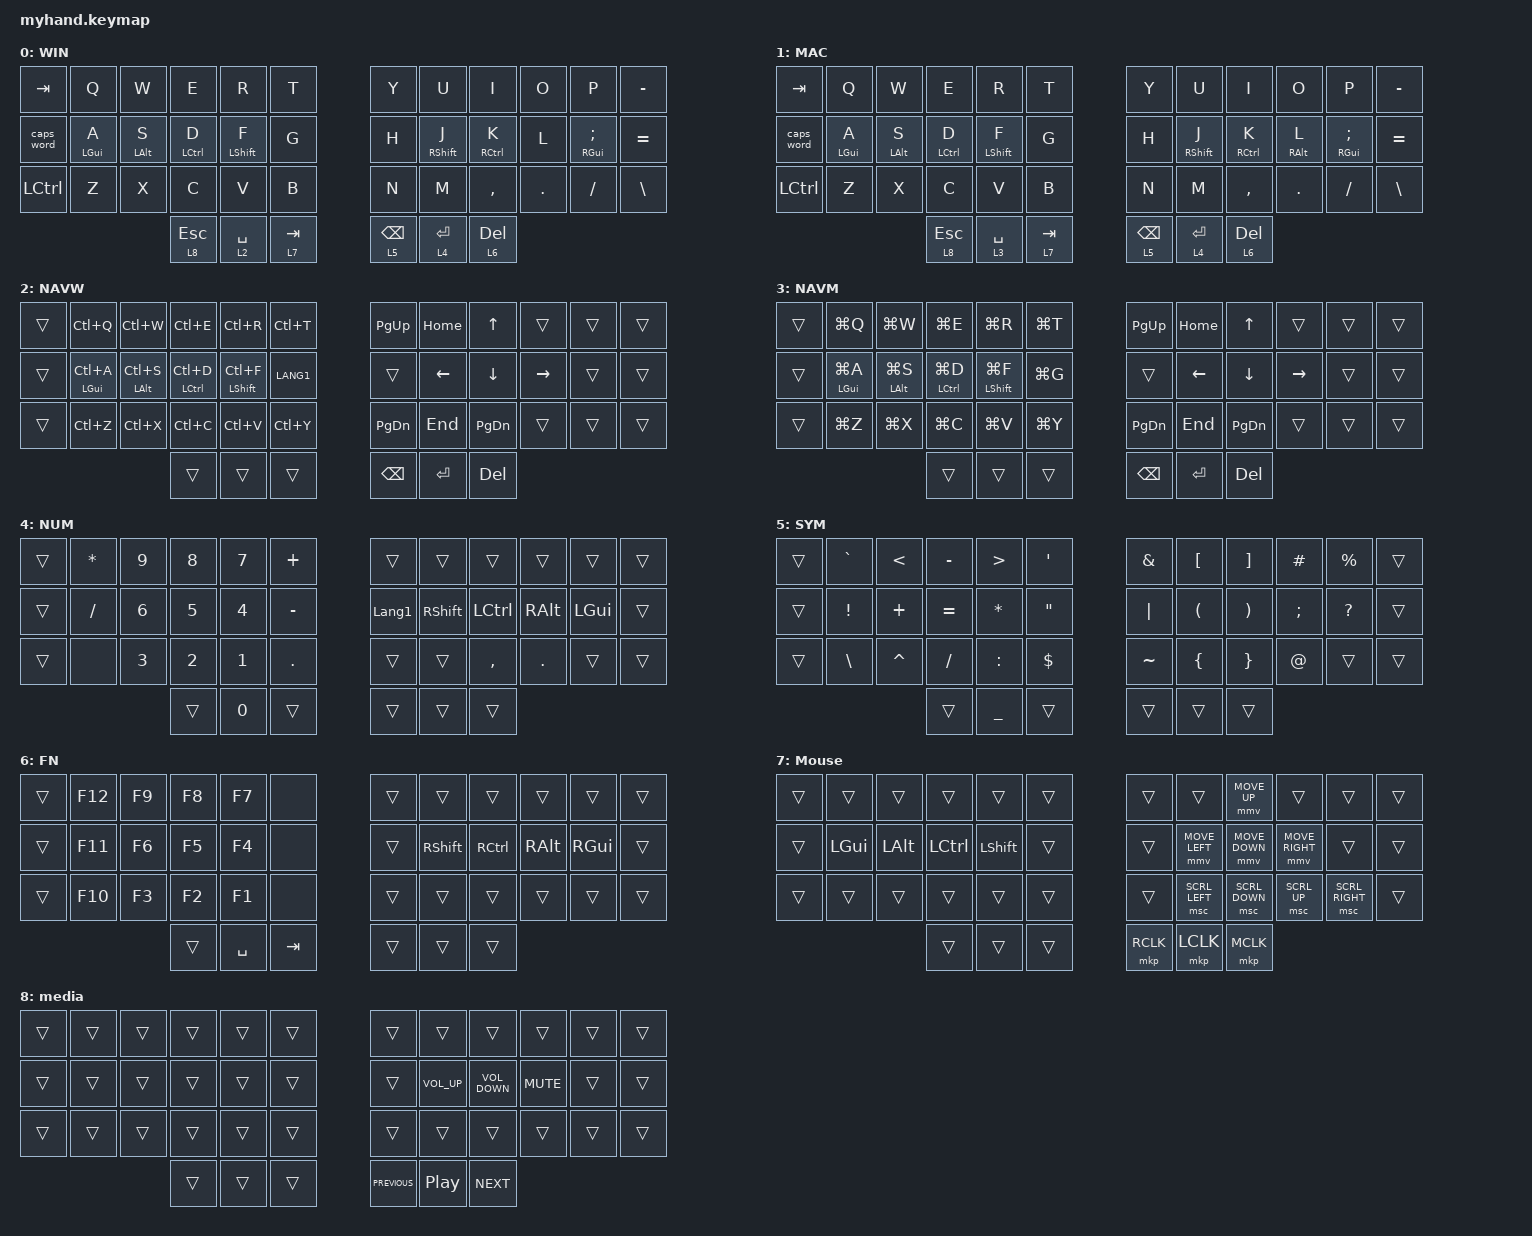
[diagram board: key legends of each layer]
/*
 * Copyright (c) 2020 The ZMK Contributors
 *
 * SPDX-License-Identifier: MIT
 */

#include <behaviors/mouse_keys.dtsi>
#include <behaviors.dtsi>
#include <dt-bindings/zmk/keys.h>
#include <dt-bindings/zmk/mouse.h>

#define DEFAULT 0
#define UPPER 1
#define LOWER 2
#define GAME 3
#define NUM_L 1 2 3 4 5
#define NUM_R 6 7 8 9 10
#define ALPHA_L 13 14 15 16 17 \
                25 26 27 28 29 \
                37 38 39 40 41 42
#define ALPHA_R 18 19 20 21 22 \
                30 31 32 33 34 \
             43 44 45 46 47 48
#define MACRO_L 0 12 24 36
#define MACRO_R 11 23 35 49
#define THUMBS 50 51 52 53 54

&mt {
    tapping-term-ms = <280>;
    quick-tap-ms = <170>;
    require-prior-idle-ms = <80>;
    flavor = "balanced";
    hold-trigger-on-release;
};

&caps_word { continue-list = <UNDERSCORE BACKSPACE DELETE SEMICOLON COLON>; };

&lt { quick-tap-ms = <200>; };

/ {
    combos {
        compatible = "zmk,combos";

        win_mac {
            bindings = <&tog 1>;
            key-positions = <2 4>;
        };
    };

    behaviors {
        en_kor: en_kor {
            compatible = "zmk,behavior-mod-morph";
            label = "EN_KOR";
            bindings = <&kp SPACE>, <&kp LANGUAGE_1>;

            #binding-cells = <0>;
            mods = <(MOD_LSFT)>;
        };
    };

    keymap {
        compatible = "zmk,keymap";

        english_win {
            // ------------------------------------------------------------------------------------------------------------
            // |  TAB  |  Q  |  W  |  E   |  R   |  T   |                   |  Y   |  U    |  I    |  O   |   P   |   -   |
            // |  CTRL |  A  |  S  |  D   |  F   |  G   |                   |  H   |  J    |  K    |  L   |   ;   |   '   |
            // | SHIFT |  Z  |  X  |  C   |  V   |  B   |   "["  |  |  "]"  |  N   |  M    |  ,    |  .   |   /   | SHIFT |
            //                     | ALT  | GUI  | LOWER|  SPACE |  | ENTER | RAISE| BSPC  | GUI   |

            display-name = "WIN";
            bindings = <
&kp TAB     &kp Q       &kp W       &kp E        &kp R         &kp T                                      &kp Y      &kp U        &kp I        &kp O    &kp P          &kp MINUS
&caps_word  &mt LGUI A  &mt LALT S  &mt LCTRL D  &mt LSHIFT F  &kp G                                      &kp H      &mt RSHFT J  &mt RCTRL K  &kp L    &mt RGUI SEMI  &kp EQUAL
&kp LCTRL   &kp Z       &kp X       &kp C        &kp V         &kp B                                      &kp N      &kp M        &kp COMMA    &kp DOT  &kp FSLH       &kp BSLH
                                                 &lt 8 ESCAPE  &lt 2 SPACE  &lt 7 TAB    &lt 5 BACKSPACE  &lt 4 RET  &lt 6 DEL
            >;
        };

        english_mac {
            display-name = "MAC";
            bindings = <
&kp TAB     &kp Q       &kp W       &kp E        &kp R         &kp T                                      &kp Y      &kp U        &kp I        &kp O       &kp P          &kp MINUS
&caps_word  &mt LGUI A  &mt LALT S  &mt LCTRL D  &mt LSHIFT F  &kp G                                      &kp H      &mt RSHFT J  &mt RCTRL K  &mt RALT L  &mt RGUI SEMI  &kp EQUAL
&kp LCTRL   &kp Z       &kp X       &kp C        &kp V         &kp B                                      &kp N      &kp M        &kp COMMA    &kp DOT     &kp FSLH       &kp BSLH
                                                 &lt 8 ESCAPE  &lt 3 SPACE  &lt 7 TAB    &lt 5 BACKSPACE  &lt 4 RET  &lt 6 DEL
            >;
        };

        nav_win {
            bindings = <
&trans  &kp LC(Q)       &kp LC(W)       &kp LC(E)        &kp LC(R)        &kp LC(T)                           &kp PAGE_UP    &kp HOME  &kp UP_ARROW   &trans     &trans     &trans
&trans  &mt LGUI LC(A)  &mt LALT LC(S)  &mt LCTRL LC(D)  &mt LSHFT LC(F)  &kp LANG1                           &trans         &kp LEFT  &kp DOWN       &kp RIGHT  &trans     &trans
&trans  &kp LC(Z)       &kp LC(X)       &kp LC(C)        &kp LC(V)        &kp LC(Y)                           &kp PAGE_DOWN  &kp END   &kp PAGE_DOWN  &trans     &trans     &trans
                                                         &trans           &trans     &trans    &kp BACKSPACE  &kp RET  &kp DEL
            >;

            label = "NAVW";
        };

        nav_mac {
            label = "NAVM";
            bindings = <
&trans  &kp LG(Q)       &kp LG(W)       &kp LG(E)        &kp LG(R)        &kp LG(T)                           &kp PAGE_UP    &kp HOME  &kp UP_ARROW   &trans     &trans  &trans
&trans  &mt LGUI LG(A)  &mt LALT LG(S)  &mt LCTRL LG(D)  &mt LSHFT LG(F)  &kp LG(G)                           &trans         &kp LEFT  &kp DOWN       &kp RIGHT  &trans  &trans
&trans  &kp LG(Z)       &kp LG(X)       &kp LG(C)        &kp LG(V)        &kp LG(Y)                           &kp PAGE_DOWN  &kp END   &kp PAGE_DOWN  &trans     &trans  &trans
                                                         &trans           &trans     &trans    &kp BACKSPACE  &kp RET        &kp DEL
            >;
        };

        num {
            bindings = <
&trans  &kp ASTRK  &kp N9  &kp N8  &kp N7  &kp PLUS                     &trans          &trans     &trans     &trans      &trans    &trans
&trans  &kp SLASH  &kp N6  &kp N5  &kp N4  &kp MINUS                    &kp LANGUAGE_1  &kp RSHFT  &kp LCTRL  &kp RALT    &kp LGUI  &trans
&trans  &none      &kp N3  &kp N2  &kp N1  &kp DOT                      &trans          &trans     &kp COMMA  &kp PERIOD  &trans    &trans
                                   &trans  &kp N0     &trans    &trans  &trans          &trans
            >;

            label = "NUM";
        };

        sym {
            bindings = <
&trans  &kp GRAVE      &kp LESS_THAN  &kp MINUS  &kp GREATER_THAN  &kp SQT                           &kp AMPS   &kp LEFT_BRACKET      &kp RIGHT_BRACKET      &kp HASH  &kp PERCENT   &trans
&trans  &kp EXCL       &kp PLUS       &kp EQUAL  &kp ASTERISK      &kp DQT                           &kp PIPE   &kp LEFT_PARENTHESIS  &kp RIGHT_PARENTHESIS  &kp SEMI  &kp QUESTION  &trans
&trans  &kp BACKSLASH  &kp CARET      &kp SLASH  &kp COLON         &kp DOLLAR                        &kp TILDE  &kp LEFT_BRACE        &kp RIGHT_BRACE        &kp AT    &trans        &trans
                                                 &trans            &kp UNDERSCORE  &trans    &trans  &trans     &trans
            >;

            label = "SYM";
        };

        fun {
            bindings = <
&trans  &kp F12  &kp F9  &kp F8  &kp F7  &none                         &trans  &trans     &trans     &trans    &trans    &trans
&trans  &kp F11  &kp F6  &kp F5  &kp F4  &none                         &trans  &kp RSHFT  &kp RCTRL  &kp RALT  &kp RGUI  &trans
&trans  &kp F10  &kp F3  &kp F2  &kp F1  &none                         &trans  &trans     &trans     &trans    &trans    &trans
                                 &trans  &kp SPACE  &kp TAB    &trans  &trans  &trans
            >;

            label = "FN";
        };

        mouse {
            bindings = <
&trans  &trans        &trans        &trans     &trans     &trans                       &trans     &trans          &mmv MOVE_UP    &trans           &trans           &trans
&trans  &kp LEFT_GUI  &kp LEFT_ALT  &kp LCTRL  &kp LSHFT  &trans                       &trans     &mmv MOVE_LEFT  &mmv MOVE_DOWN  &mmv MOVE_RIGHT  &trans           &trans
&trans  &trans        &trans        &trans     &trans     &trans                       &trans     &msc SCRL_LEFT  &msc SCRL_DOWN  &msc SCRL_UP     &msc SCRL_RIGHT  &trans
                                               &trans     &trans  &trans    &mkp RCLK  &mkp LCLK  &mkp MCLK
            >;

            label = "Mouse";
        };

        media {
            bindings = <
&trans  &trans  &trans  &trans  &trans  &trans                            &trans            &trans        &trans             &trans      &trans  &trans
&trans  &trans  &trans  &trans  &trans  &trans                            &trans            &kp C_VOL_UP  &kp C_VOLUME_DOWN  &kp C_MUTE  &trans  &trans
&trans  &trans  &trans  &trans  &trans  &trans                            &trans            &trans        &trans             &trans      &trans  &trans
                                &trans  &trans  &trans    &kp C_PREVIOUS  &kp C_PLAY_PAUSE  &kp C_NEXT
            >;
        };
    };

    conditional_layers { compatible = "zmk,conditional-layers"; };
};
